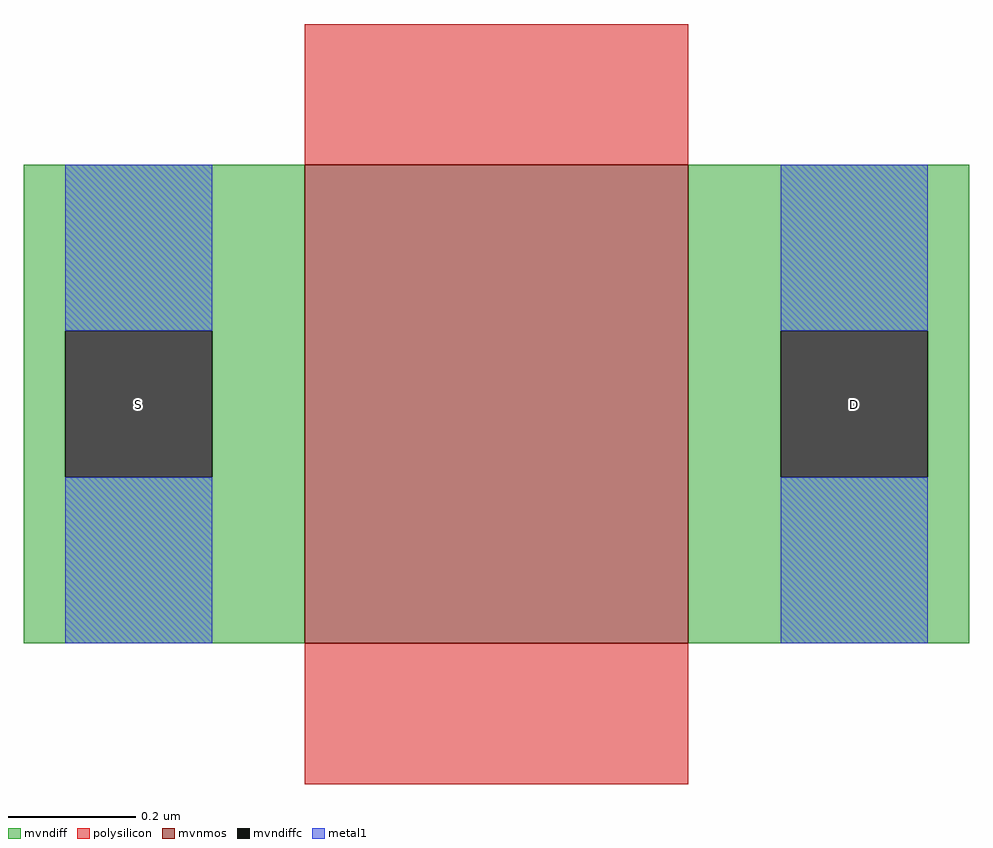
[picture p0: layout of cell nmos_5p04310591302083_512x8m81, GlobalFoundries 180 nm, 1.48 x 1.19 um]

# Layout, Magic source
magic
tech gf180mcuA
magscale 1 10
<< mvnmos >>
rect 0 0 120 150
<< mvndiff >>
rect -88 98 0 150
rect -88 52 -75 98
rect -29 52 0 98
rect -88 0 0 52
rect 120 98 208 150
rect 120 52 149 98
rect 195 52 208 98
rect 120 0 208 52
<< mvndiffc >>
rect -75 52 -29 98
rect 149 52 195 98
<< polysilicon >>
rect 0 150 120 194
rect 0 -44 120 0
<< metal1 >>
rect -75 98 -29 150
rect -75 0 -29 52
rect 149 98 195 150
rect 149 0 195 52
<< labels >>
flabel metal1 s -52 75 -52 75 0 FreeSans 200 0 0 0 S
flabel metal1 s 172 75 172 75 0 FreeSans 200 0 0 0 D
<< properties >>
string GDS_END 1081450
string GDS_FILE $PDKPATH/libs.ref/gf180mcu_fd_ip_sram/gds/gf180mcu_fd_ip_sram__sram512x8m8wm1.gds
string GDS_START 1080426
<< end >>
